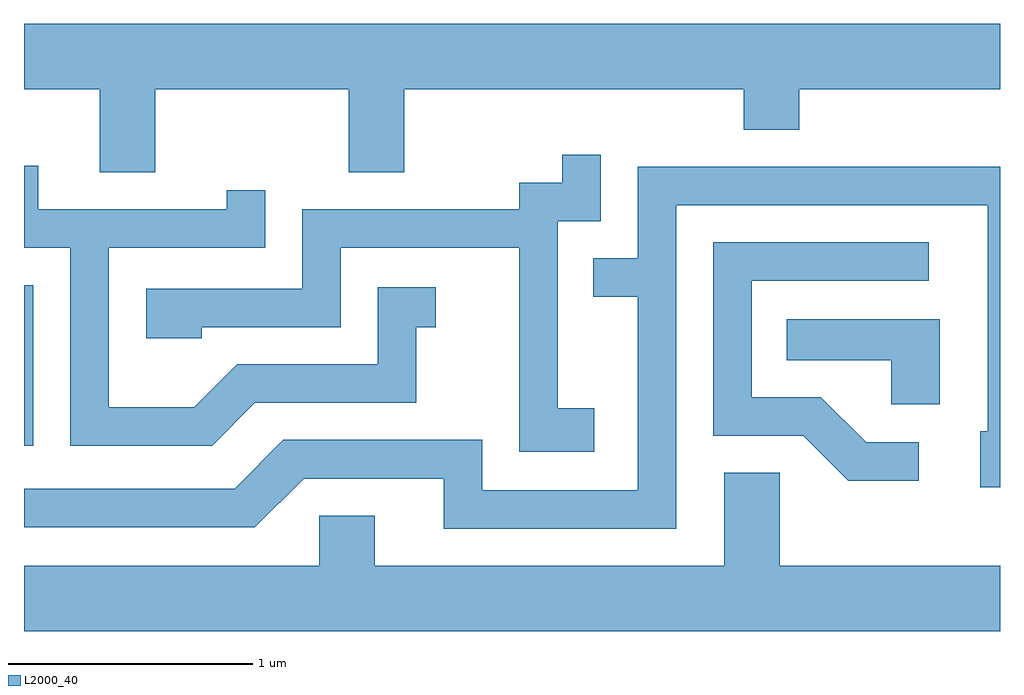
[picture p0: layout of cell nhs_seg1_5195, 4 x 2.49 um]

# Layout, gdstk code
import gdstk
lib = gdstk.Library(unit=1e-6, precision=1e-09)
def R(c, l, rs):  # rectangles x0, y0, x1, y1
    for r in rs: c.add(gdstk.rectangle(r[:2], r[2:], *l))
def P(c, l, *ps):  # polygons
    for p in ps: c.add(gdstk.Polygon(p, *l))
L2000_40 = (2000, 40)

nhs_seg1_5195 = lib.new_cell('nhs_seg1_5195')
R(nhs_seg1_5195, L2000_40, [(341.611,895.896,341.649,896.554)])
P(nhs_seg1_5195, L2000_40, [(342.149,897.356),(342.941,897.356),(342.941,897.016),(343.169,897.016),(343.169,897.356),(344.561,897.356),(344.561,897.191),(344.789,897.191),(344.789,897.356),(345.611,897.356),(345.611,897.624),(341.611,897.624),(341.611,897.356),(341.921,897.356),(341.921,897.016),(342.149,897.016)],
  [(343.949,896.049),(343.799,896.049),(343.799,896.816),(343.974,896.816),(343.974,897.088),(343.816,897.088),(343.816,896.974),(343.641,896.974),(343.641,896.864),(342.751,896.864),(342.751,896.539),(342.111,896.539),(342.111,896.336),(342.339,896.336),(342.339,896.381),(342.909,896.381),(342.909,896.706),(343.641,896.706),(343.641,895.871),(343.949,895.871)],
  [(342.557,896.071),(343.219,896.071),(343.219,896.381),(343.298,896.381),(343.298,896.544),(343.061,896.544),(343.061,896.229),(342.484,896.229),(342.309,896.054),(341.959,896.054),(341.959,896.706),(342.599,896.706),(342.599,896.943),(342.441,896.943),(342.441,896.864),(341.669,896.864),(341.669,897.043),(341.611,897.043),(341.611,896.706),(341.801,896.706),(341.801,895.896),(342.382,895.896)],
  [(344.284,896.881),(345.561,896.881),(345.561,895.954),(345.531,895.954),(345.531,895.726),(345.611,895.726),(345.611,897.039),(344.126,897.039),(344.126,896.664),(343.943,896.664),(343.943,896.506),(344.126,896.506),(344.126,895.714),(343.489,895.714),(343.489,895.919),(342.674,895.919),(342.474,895.719),(341.611,895.719),(341.611,895.561),(342.557,895.561),(342.757,895.761),(343.331,895.761),(343.331,895.556),(344.284,895.556)],
  [(345.278,895.909),(345.062,895.909),(344.877,896.094),(344.594,896.094),(344.594,896.571),(345.318,896.571),(345.318,896.729),(344.436,896.729),(344.436,895.936),(344.804,895.936),(344.989,895.751),(345.278,895.751)],
  [(345.364,896.414),(344.738,896.414),(344.738,896.246),(345.166,896.246),(345.166,896.066),(345.364,896.066)],
  [(345.611,895.404),(344.709,895.404),(344.709,895.784),(344.481,895.784),(344.481,895.404),(343.049,895.404),(343.049,895.609),(342.821,895.609),(342.821,895.404),(341.611,895.404),(341.611,895.136),(345.611,895.136)])

lib.write_gds('nhs_seg1_5195.gds')
